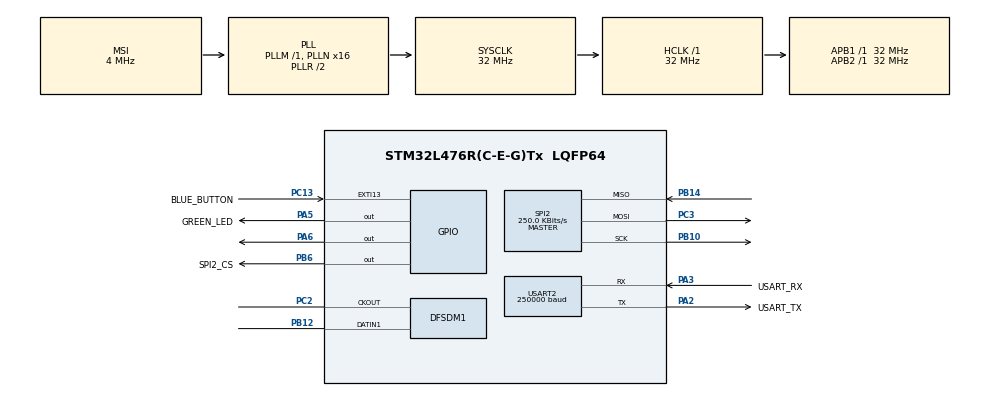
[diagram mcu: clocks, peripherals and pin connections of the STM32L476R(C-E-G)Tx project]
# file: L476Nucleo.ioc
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DFSDM1.Divider=16
DFSDM1.DmaMode_reg_FIL0=ENABLE
DFSDM1.FastMode_reg_FIL0=ENABLE
DFSDM1.Filter_regChannel_FIL0=DFSDM_CHANNEL_1
DFSDM1.Fosr_FIL0=50
DFSDM1.SincOrder_FIL0=DFSDM_FILTER_SINC3_ORDER
Dma.DFSDM1_FLT0.0.Direction=DMA_PERIPH_TO_MEMORY
Dma.DFSDM1_FLT0.0.Instance=DMA1_Channel4
Dma.DFSDM1_FLT0.0.MemDataAlignment=DMA_MDATAALIGN_WORD
Dma.DFSDM1_FLT0.0.MemInc=DMA_MINC_ENABLE
Dma.DFSDM1_FLT0.0.Mode=DMA_CIRCULAR
Dma.DFSDM1_FLT0.0.PeriphDataAlignment=DMA_PDATAALIGN_WORD
Dma.DFSDM1_FLT0.0.PeriphInc=DMA_PINC_DISABLE
Dma.DFSDM1_FLT0.0.Priority=DMA_PRIORITY_LOW
Dma.Request0=DFSDM1_FLT0
Dma.Request1=USART2_TX
Dma.USART2_TX.1.Direction=DMA_MEMORY_TO_PERIPH
Dma.USART2_TX.1.Instance=DMA1_Channel7
Dma.USART2_TX.1.MemDataAlignment=DMA_MDATAALIGN_BYTE
Dma.USART2_TX.1.MemInc=DMA_MINC_ENABLE
Dma.USART2_TX.1.Mode=DMA_NORMAL
Dma.USART2_TX.1.PeriphDataAlignment=DMA_PDATAALIGN_BYTE
Dma.USART2_TX.1.PeriphInc=DMA_PINC_DISABLE
Dma.USART2_TX.1.Priority=DMA_PRIORITY_LOW
Mcu.Family=STM32L4
Mcu.Name=STM32L476R(C-E-G)Tx
Mcu.Package=LQFP64
NVIC.DMA1_Channel4_IRQn=true\:0\:0\:false\:false\:true\:false\:true\:true
NVIC.DMA1_Channel7_IRQn=true\:1\:0\:true\:false\:true\:false\:true\:true
NVIC.EXTI15_10_IRQn=true\:0\:0\:false\:false\:true\:true\:true\:true
NVIC.PriorityGroup=NVIC_PRIORITYGROUP_4
NVIC.USART2_IRQn=true\:0\:0\:false\:false\:true\:true\:true\:true
PA13\ (JTMS-SWDIO).GPIO_Label=TMS
PA13\ (JTMS-SWDIO).Mode=Serial_Wire
PA13\ (JTMS-SWDIO).Signal=SYS_JTMS-SWDIO
PA14\ (JTCK-SWCLK).GPIO_Label=TCK
PA14\ (JTCK-SWCLK).Mode=Serial_Wire
PA14\ (JTCK-SWCLK).Signal=SYS_JTCK-SWCLK
PA2.GPIO_Label=USART_TX
PA2.GPIO_Mode=GPIO_MODE_AF_PP
PA2.GPIO_PuPd=GPIO_NOPULL
PA2.GPIO_Speed=GPIO_SPEED_FREQ_VERY_HIGH
PA2.Mode=Asynchronous
PA2.Signal=USART2_TX
PA3.GPIO_Label=USART_RX
PA3.GPIO_Mode=GPIO_MODE_AF_PP
PA3.GPIO_PuPd=GPIO_NOPULL
PA3.GPIO_Speed=GPIO_SPEED_FREQ_VERY_HIGH
PA3.Mode=Asynchronous
PA3.Signal=USART2_RX
PA5.GPIO_Label=GREEN_LED
PA5.GPIO_ModeDefaultOutputPP=GPIO_MODE_OUTPUT_PP
PA5.GPIO_PuPd=GPIO_NOPULL
PA5.GPIO_Speed=GPIO_SPEED_FREQ_LOW
PA5.Signal=GPIO_Output
PA6.Signal=GPIO_Output
PB10.Mode=Full_Duplex_Master
PB10.Signal=SPI2_SCK
PB12.Signal=S_DATAIN1DFSDM1
PB14.Mode=Full_Duplex_Master
PB14.Signal=SPI2_MISO
PB3\ (JTDO-TRACESWO).GPIO_Label=SWO
PB3\ (JTDO-TRACESWO).Signal=SYS_JTDO-SWO
PB6.GPIO_Label=SPI2_CS
PB6.Signal=GPIO_Output
PC13.GPIO_Label=BLUE_BUTTON
PC13.GPIO_ModeDefaultEXTI=GPIO_MODE_IT_FALLING
PC13.GPIO_PuPd=GPIO_NOPULL
PC13.Signal=GPXTI13
PC14-OSC32_IN\ (PC14).Mode=LSE-External-Oscillator
PC14-OSC32_IN\ (PC14).Signal=RCC_OSC32_IN
PC15-OSC32_OUT\ (PC15).Mode=LSE-External-Oscillator
PC15-OSC32_OUT\ (PC15).Signal=RCC_OSC32_OUT
PC2.Signal=S_CKOUTDFSDM1
PC3.Mode=Full_Duplex_Master
PC3.Signal=SPI2_MOSI
PH0-OSC_IN\ (PH0).Signal=RCC_OSC_IN
PH1-OSC_OUT\ (PH1).Signal=RCC_OSC_OUT
ProjectManager.HeapSize=0x1000
ProjectManager.StackSize=0x800
ProjectManager.TargetToolchain=CMake
RCC.ADCFreq_Value=48000000
RCC.AHBFreq_Value=32000000
RCC.APB1Freq_Value=32000000
RCC.APB1TimFreq_Value=32000000
RCC.APB2Freq_Value=32000000
RCC.APB2TimFreq_Value=32000000
RCC.CortexFreq_Value=32000000
RCC.HCLKFreq_Value=32000000
RCC.HSE_VALUE=8000000
RCC.HSI_VALUE=16000000
RCC.MSI_VALUE=4000000
RCC.PLLN=16
RCC.PLLSAI1N=24
RCC.PREFETCH_ENABLE=1
RCC.SYSCLKFreq_VALUE=32000000
RCC.SYSCLKSource=RCC_SYSCLKSOURCE_PLLCLK
RCC.USBFreq_Value=48000000
RCC.VCOOutputFreq_Value=64000000
SH.S_CKOUTDFSDM1.0=DFSDM1_CKOUT,PDM_SPI_input_from_ch1_and_internal_clock
SH.S_DATAIN1DFSDM1.0=DFSDM1_DATIN1,PDM_SPI_input_from_ch1_and_internal_clock
SPI2.BaudRatePrescaler=SPI_BAUDRATEPRESCALER_128
SPI2.CalculateBaudRate=250.0 KBits/s
SPI2.DataSize=SPI_DATASIZE_8BIT
SPI2.Direction=SPI_DIRECTION_2LINES
SPI2.Mode=SPI_MODE_MASTER
SPI2.VirtualType=VM_MASTER
USART2.BaudRate=250000
USART2.VirtualMode-Asynchronous=VM_ASYNC
VP_FATFS_VS_Generic.Mode=User_defined
board=NUCLEO-L476RG

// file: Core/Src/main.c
/* USER CODE BEGIN Header */
/**
  ******************************************************************************
  * @file           : main.c
  * @brief          : Main program body
  ******************************************************************************
  * @attention
  *
  * Copyright (c) 2026 STMicroelectronics.
  * All rights reserved.
  *
  * This software is licensed under terms that can be found in the LICENSE file
  * in the root directory of this software component.
  * If no LICENSE file comes with this software, it is provided AS-IS.
  *
  ******************************************************************************
  */
/* USER CODE END Header */
#include "main.h"
#include "fatfs.h"

/* USER CODE BEGIN Includes */
#include <stdint.h>
#include <stdbool.h>
#include <inttypes.h>
#include <stdio.h>
#include <string.h>
#include "detector.h"
#include "stm32l4xx_hal_gpio.h"
#include "mic.h"
#include "sdcard.h"
/* USER CODE END Includes */

DFSDM_Filter_HandleTypeDef hdfsdm1_filter0;
DFSDM_Channel_HandleTypeDef hdfsdm1_channel1;
DMA_HandleTypeDef hdma_dfsdm1_flt0;

SPI_HandleTypeDef hspi2;

UART_HandleTypeDef huart2;
DMA_HandleTypeDef hdma_usart2_tx;

/* USER CODE BEGIN PV */
static mic_t mic;
static wav_recorder_t wav = { .buf = &mic.ring_buf};
static volatile bool new_recording_requested = false;
/* USER CODE END PV */

void SystemClock_Config(void);
static void MX_GPIO_Init(void);
static void MX_DMA_Init(void);
static void MX_DFSDM1_Init(void);
static void MX_USART2_UART_Init(void);
static void MX_SPI2_Init(void);

int main(void)
{

  /* MCU Configuration--------------------------------------------------------*/

  /* Reset of all peripherals, Initializes the Flash interface and the Systick. */
  HAL_Init();

  /* Configure the system clock */
  SystemClock_Config();

  /* Initialize all configured peripherals */
  MX_GPIO_Init();
  MX_DMA_Init();
  MX_DFSDM1_Init();
  MX_USART2_UART_Init();
  MX_SPI2_Init();
  MX_FATFS_Init();
  /* USER CODE BEGIN 2 */
  mic_init(&mic);
  HAL_DFSDM_FilterRegularStart_DMA(&hdfsdm1_filter0, mic.audio_buf, AUDIO_BUF_SIZE);
  sdcard_init(&huart2);
  /* USER CODE END 2 */

  /* Infinite loop */
  while (1)
  {

    /* USER CODE BEGIN 3 */
    if (new_recording_requested) {
      new_recording_requested = false;
      HAL_GPIO_TogglePin(GREEN_LED_GPIO_Port, GREEN_LED_Pin);
      if (wav.is_open) {
        sdcard_close_recording(&wav);
      } else {
        sdcard_open_recording(&wav);
      }
    }

    sdcard_drain(&wav);
  }
  /* USER CODE END 3 */
}

void SystemClock_Config(void)
{
  RCC_OscInitTypeDef RCC_OscInitStruct = {0};
  RCC_ClkInitTypeDef RCC_ClkInitStruct = {0};

  /** Configure the main internal regulator output voltage
  */
  if (HAL_PWREx_ControlVoltageScaling(PWR_REGULATOR_VOLTAGE_SCALE1) != HAL_OK)
  {
    Error_Handler();
  }

  /** Configure LSE Drive Capability
  */
  HAL_PWR_EnableBkUpAccess();
  __HAL_RCC_LSEDRIVE_CONFIG(RCC_LSEDRIVE_LOW);

  /** Initializes the RCC Oscillators according to the specified parameters
  * in the RCC_OscInitTypeDef structure.
  */
  RCC_OscInitStruct.OscillatorType = RCC_OSCILLATORTYPE_LSE|RCC_OSCILLATORTYPE_MSI;
  RCC_OscInitStruct.LSEState = RCC_LSE_ON;
  RCC_OscInitStruct.MSIState = RCC_MSI_ON;
  RCC_OscInitStruct.MSICalibrationValue = 0;
  RCC_OscInitStruct.MSIClockRange = RCC_MSIRANGE_6;
  RCC_OscInitStruct.PLL.PLLState = RCC_PLL_ON;
  RCC_OscInitStruct.PLL.PLLSource = RCC_PLLSOURCE_MSI;
  RCC_OscInitStruct.PLL.PLLM = 1;
  RCC_OscInitStruct.PLL.PLLN = 16;
  RCC_OscInitStruct.PLL.PLLP = RCC_PLLP_DIV7;
  RCC_OscInitStruct.PLL.PLLQ = RCC_PLLQ_DIV2;
  RCC_OscInitStruct.PLL.PLLR = RCC_PLLR_DIV2;
  if (HAL_RCC_OscConfig(&RCC_OscInitStruct) != HAL_OK)
  {
    Error_Handler();
  }

  /** Initializes the CPU, AHB and APB buses clocks
  */
  RCC_ClkInitStruct.ClockType = RCC_CLOCKTYPE_HCLK|RCC_CLOCKTYPE_SYSCLK
                              |RCC_CLOCKTYPE_PCLK1|RCC_CLOCKTYPE_PCLK2;
  RCC_ClkInitStruct.SYSCLKSource = RCC_SYSCLKSOURCE_PLLCLK;
  RCC_ClkInitStruct.AHBCLKDivider = RCC_SYSCLK_DIV1;
  RCC_ClkInitStruct.APB1CLKDivider = RCC_HCLK_DIV1;
  RCC_ClkInitStruct.APB2CLKDivider = RCC_HCLK_DIV1;

  if (HAL_RCC_ClockConfig(&RCC_ClkInitStruct, FLASH_LATENCY_1) != HAL_OK)
  {
    Error_Handler();
  }

  /** Enable MSI Auto calibration
  */
  HAL_RCCEx_EnableMSIPLLMode();
}

static void MX_DFSDM1_Init(void)
{

  hdfsdm1_filter0.Instance = DFSDM1_Filter0;
  hdfsdm1_filter0.Init.RegularParam.Trigger = DFSDM_FILTER_SW_TRIGGER;
  hdfsdm1_filter0.Init.RegularParam.FastMode = ENABLE;
  hdfsdm1_filter0.Init.RegularParam.DmaMode = ENABLE;
  hdfsdm1_filter0.Init.FilterParam.SincOrder = DFSDM_FILTER_SINC3_ORDER;
  hdfsdm1_filter0.Init.FilterParam.Oversampling = 50;
  hdfsdm1_filter0.Init.FilterParam.IntOversampling = 1;
  if (HAL_DFSDM_FilterInit(&hdfsdm1_filter0) != HAL_OK)
  {
    Error_Handler();
  }
  hdfsdm1_channel1.Instance = DFSDM1_Channel1;
  hdfsdm1_channel1.Init.OutputClock.Activation = ENABLE;
  hdfsdm1_channel1.Init.OutputClock.Selection = DFSDM_CHANNEL_OUTPUT_CLOCK_SYSTEM;
  hdfsdm1_channel1.Init.OutputClock.Divider = 16;
  hdfsdm1_channel1.Init.Input.Multiplexer = DFSDM_CHANNEL_EXTERNAL_INPUTS;
  hdfsdm1_channel1.Init.Input.DataPacking = DFSDM_CHANNEL_STANDARD_MODE;
  hdfsdm1_channel1.Init.Input.Pins = DFSDM_CHANNEL_SAME_CHANNEL_PINS;
  hdfsdm1_channel1.Init.SerialInterface.Type = DFSDM_CHANNEL_SPI_RISING;
  hdfsdm1_channel1.Init.SerialInterface.SpiClock = DFSDM_CHANNEL_SPI_CLOCK_INTERNAL;
  hdfsdm1_channel1.Init.Awd.FilterOrder = DFSDM_CHANNEL_FASTSINC_ORDER;
  hdfsdm1_channel1.Init.Awd.Oversampling = 1;
  hdfsdm1_channel1.Init.Offset = 0;
  hdfsdm1_channel1.Init.RightBitShift = 0x00;
  if (HAL_DFSDM_ChannelInit(&hdfsdm1_channel1) != HAL_OK)
  {
    Error_Handler();
  }
  if (HAL_DFSDM_FilterConfigRegChannel(&hdfsdm1_filter0, DFSDM_CHANNEL_1, DFSDM_CONTINUOUS_CONV_ON) != HAL_OK)
  {
    Error_Handler();
  }

}

static void MX_SPI2_Init(void)
{

  /* SPI2 parameter configuration*/
  hspi2.Instance = SPI2;
  hspi2.Init.Mode = SPI_MODE_MASTER;
  hspi2.Init.Direction = SPI_DIRECTION_2LINES;
  hspi2.Init.DataSize = SPI_DATASIZE_8BIT;
  hspi2.Init.CLKPolarity = SPI_POLARITY_LOW;
  hspi2.Init.CLKPhase = SPI_PHASE_1EDGE;
  hspi2.Init.NSS = SPI_NSS_SOFT;
  hspi2.Init.BaudRatePrescaler = SPI_BAUDRATEPRESCALER_128;
  hspi2.Init.FirstBit = SPI_FIRSTBIT_MSB;
  hspi2.Init.TIMode = SPI_TIMODE_DISABLE;
  hspi2.Init.CRCCalculation = SPI_CRCCALCULATION_DISABLE;
  hspi2.Init.CRCPolynomial = 7;
  hspi2.Init.CRCLength = SPI_CRC_LENGTH_DATASIZE;
  hspi2.Init.NSSPMode = SPI_NSS_PULSE_ENABLE;
  if (HAL_SPI_Init(&hspi2) != HAL_OK)
  {
    Error_Handler();
  }

}

static void MX_USART2_UART_Init(void)
{

  huart2.Instance = USART2;
  huart2.Init.BaudRate = 250000;
  huart2.Init.WordLength = UART_WORDLENGTH_8B;
  huart2.Init.StopBits = UART_STOPBITS_1;
  huart2.Init.Parity = UART_PARITY_NONE;
  huart2.Init.Mode = UART_MODE_TX_RX;
  huart2.Init.HwFlowCtl = UART_HWCONTROL_NONE;
  huart2.Init.OverSampling = UART_OVERSAMPLING_16;
  huart2.Init.OneBitSampling = UART_ONE_BIT_SAMPLE_DISABLE;
  huart2.AdvancedInit.AdvFeatureInit = UART_ADVFEATURE_NO_INIT;
  if (HAL_UART_Init(&huart2) != HAL_OK)
  {
    Error_Handler();
  }

}

static void MX_DMA_Init(void)
{

  /* DMA controller clock enable */
  __HAL_RCC_DMA1_CLK_ENABLE();

  /* DMA interrupt init */
  /* DMA1_Channel4_IRQn interrupt configuration */
  HAL_NVIC_SetPriority(DMA1_Channel4_IRQn, 0, 0);
  HAL_NVIC_EnableIRQ(DMA1_Channel4_IRQn);
  /* DMA1_Channel7_IRQn interrupt configuration */
  HAL_NVIC_SetPriority(DMA1_Channel7_IRQn, 1, 0);
  HAL_NVIC_EnableIRQ(DMA1_Channel7_IRQn);

}

static void MX_GPIO_Init(void)
{
  GPIO_InitTypeDef GPIO_InitStruct = {0};

  /* GPIO Ports Clock Enable */
  __HAL_RCC_GPIOC_CLK_ENABLE();
  __HAL_RCC_GPIOH_CLK_ENABLE();
  __HAL_RCC_GPIOA_CLK_ENABLE();
  __HAL_RCC_GPIOB_CLK_ENABLE();

  /*Configure GPIO pin Output Level */
  HAL_GPIO_WritePin(GPIOA, GREEN_LED_Pin|GPIO_PIN_6, GPIO_PIN_RESET);

  /*Configure GPIO pin Output Level */
  HAL_GPIO_WritePin(SPI2_CS_GPIO_Port, SPI2_CS_Pin, GPIO_PIN_RESET);

  /*Configure GPIO pin : BLUE_BUTTON_Pin */
  GPIO_InitStruct.Pin = BLUE_BUTTON_Pin;
  GPIO_InitStruct.Mode = GPIO_MODE_IT_FALLING;
  GPIO_InitStruct.Pull = GPIO_NOPULL;
  HAL_GPIO_Init(BLUE_BUTTON_GPIO_Port, &GPIO_InitStruct);

  /*Configure GPIO pins : GREEN_LED_Pin PA6 */
  GPIO_InitStruct.Pin = GREEN_LED_Pin|GPIO_PIN_6;
  GPIO_InitStruct.Mode = GPIO_MODE_OUTPUT_PP;
  GPIO_InitStruct.Pull = GPIO_NOPULL;
  GPIO_InitStruct.Speed = GPIO_SPEED_FREQ_LOW;
  HAL_GPIO_Init(GPIOA, &GPIO_InitStruct);

  /*Configure GPIO pin : SPI2_CS_Pin */
  GPIO_InitStruct.Pin = SPI2_CS_Pin;
  GPIO_InitStruct.Mode = GPIO_MODE_OUTPUT_PP;
  GPIO_InitStruct.Pull = GPIO_NOPULL;
  GPIO_InitStruct.Speed = GPIO_SPEED_FREQ_LOW;
  HAL_GPIO_Init(SPI2_CS_GPIO_Port, &GPIO_InitStruct);

  /* EXTI interrupt init*/
  HAL_NVIC_SetPriority(EXTI15_10_IRQn, 0, 0);
  HAL_NVIC_EnableIRQ(EXTI15_10_IRQn);

}

/* USER CODE BEGIN 4 */
void HAL_GPIO_EXTI_Callback(uint16_t GPIO_Pin)
{
  UNUSED(GPIO_Pin);
  new_recording_requested = true;
}

void HAL_DFSDM_FilterRegConvHalfCpltCallback(DFSDM_Filter_HandleTypeDef *hdfsdm_filter)
{
  mic.audio_half_buf_pos = mic.audio_buf;
  mic.audio_read_ready = MIC_BUF_HALF;
  if (read_audio(&mic, &mic.ring_buf) == MIC_READ_SUCC) {
    if (wav.is_open) wav.total_bufs++;
  } else if (wav.is_open) {
    wav.missed_bufs++;
  }
}

void HAL_DFSDM_FilterRegConvCpltCallback(DFSDM_Filter_HandleTypeDef *hdfsdm_filter)
{
  mic.audio_half_buf_pos = mic.audio_buf + AUDIO_BUF_HALF;
  mic.audio_read_ready = MIC_BUF_FULL;
  if (read_audio(&mic, &mic.ring_buf) == MIC_READ_SUCC) {
    if (wav.is_open) wav.total_bufs++;
  } else if (wav.is_open) {
    wav.missed_bufs++;
  }
}

/* USER CODE END 4 */

void Error_Handler(void)
{
  __disable_irq();
  while (1)
  {
  }
}
